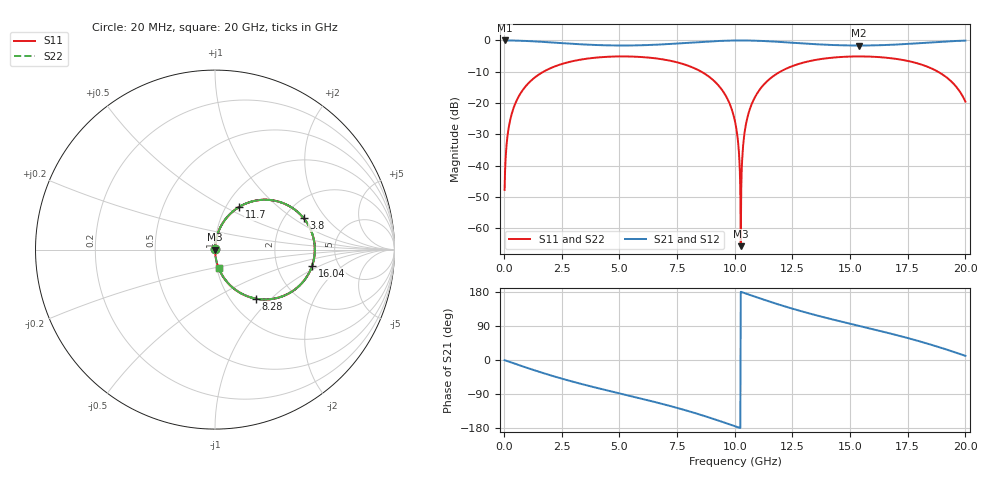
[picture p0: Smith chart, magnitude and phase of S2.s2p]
! Touchstone file exported from Circuit Design 2026.1.0
!  File:  local/demo-project/Project1.aedt
!  Generated:  01:57:56 PM Apr 21, 2026
!  Design:  Circuit1
!  Project:  Project1
!  Setup:  LinearFrequency
!  Solution:  LinearFrequency
# GHz S MA R 50.000000
! Terminal data exported
! Port[1] = Port1
! Port[2] = Port2
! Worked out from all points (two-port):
!   1000 points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, 20 MHz to 20 GHz, reference 50 ohm
!   highest |S21| = 0.00 dB at 20 MHz (marker M1); lowest = -1.6 dB at 15.4 GHz (marker M2)
!   |S21| within 3 dB of the highest: start of sweep to end of sweep
!   lowest |S11| = -65.6 dB at 10.26 GHz (marker M3), VSWR 1.00, Z = 50.1 + j0.00493 ohm
!   |S11| at or under -10 dB: start of sweep to 1.7 GHz; 8.558 GHz to 11.96 GHz (3.405 GHz wide, 33.2 % of centre); 18.82 GHz to end of sweep
!   |S22| runs from -65.6 to -5.1 dB; largest |S21 - S12| = 1.7e-14
!   S11 on the Smith chart (normalised r, x): 20 MHz: 1.00, +0.01; 3.8 GHz: 2.52, +1.23; 8.28 GHz: 1.30, -0.82; 11.7 GHz: 1.15, +0.59; 16.04 GHz: 3.19, -0.83; 20 GHz: 1.02, -0.21
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0.02  0.004138 88.0  0.9999 -0.4  0.9999 -0.4  0.004138 88.0
! Gamma 0 0 0 0
! Port Impedance 50 0 50 0
0.26  0.05338 84.2  0.9983 -5.5  0.9983 -5.5  0.05338 84.2
0.76  0.1529 73.9  0.9878 -15.9  0.9878 -15.9  0.1529 73.9
1.76  0.3253 54.2  0.9451 -35.8  0.9451 -35.8  0.3253 54.2
3.36  0.4977 26.5  0.8668 -63.4  0.8668 -63.4  0.4977 26.5
3.8  0.5239 19.7  0.8512 -70.3  0.8512 -70.3  0.5239 19.7
6.68  0.5117 -23.1  0.8586 -113.1  0.8586 -113.1  0.5117 -23.1
8.28  0.3564 -50.1  0.9336 -140.2  0.9336 -140.2  0.3564 -50.1
9.44  0.164 -72.7  0.9856 -162.9  0.9856 -162.9  0.164 -72.7
10.02  0.04904 -84.4  0.9979 -174.9  0.9979 -174.9  0.04904 -84.4
10.18  0.01635 -86.5  0.9989 -178.3  0.9989 -178.3  0.01635 -86.5
10.26  0.0005223 5.4  0.9991 180.0  0.9991 180.0  0.0005223 5.4
10.34  0.01645 86.5  0.9989 178.3  0.9989 178.3  0.01645 86.5
10.46  0.04098 85.0  0.9982 175.8  0.9982 175.8  0.04098 85.0
10.68  0.08557 80.8  0.9954 171.2  0.9954 171.2  0.08557 80.8
11.7  0.2747 60.3  0.9605 150.4  0.9605 150.4  0.2747 60.3
13.34  0.4763 31.0  0.8783 121.1  0.8783 121.1  0.4763 31.0
15.4  0.5561 -0.2  0.8301 89.9  0.8301 89.9  0.5561 -0.2
16.04  0.5485 -9.5  0.8352 80.5  0.8352 80.5  0.5485 -9.5
16.68  0.5255 -19.1  0.8498 70.9  0.8498 70.9  0.5255 -19.1
18.78  0.3219 -54.5  0.9456 35.4  0.9456 35.4  0.3219 -54.5
20  0.1057 -78.7  0.9931 11.0  0.9931 11.0  0.1057 -78.7
